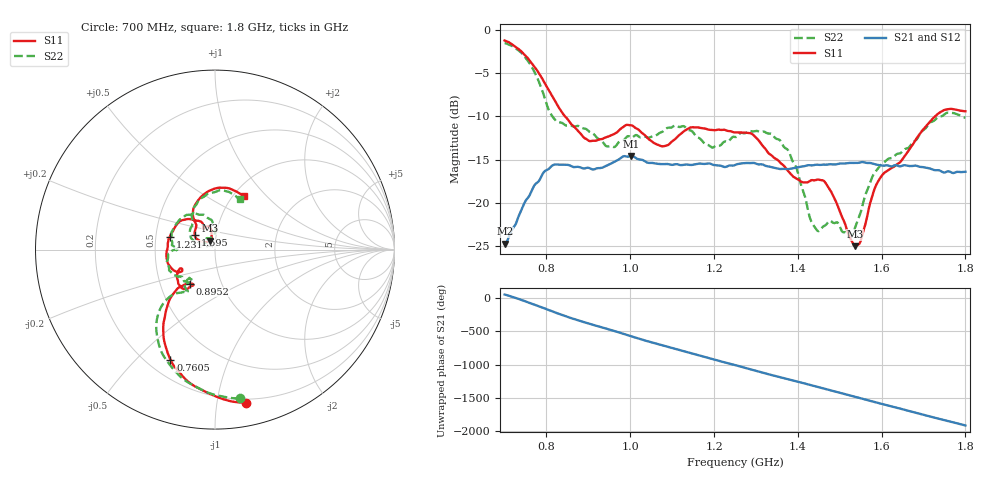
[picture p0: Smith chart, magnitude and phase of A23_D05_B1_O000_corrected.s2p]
! Created with skrf 1.9.0 (http://scikit-rf.org).
# Hz S RI R 50.0
!freq ReS11 ImS11 ReS21 ImS21 ReS12 ImS12 ReS22 ImS22
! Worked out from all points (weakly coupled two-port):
!   1601 points, 700 MHz to 1.8 GHz, reference 50 ohm
!   highest |S21| = -14.56 dB at 1.002 GHz (marker M1); lowest = -24.7 dB at 700.7 MHz (marker M2)
!   lowest |S11| = -25.0 dB at 1.537 GHz (marker M3), VSWR 1.12, Z = 47.2 + j4.72 ohm
!   |S11| at or under -10 dB: 844.6 MHz to 1.727 GHz (882.7 MHz wide, 68.6 % of centre)
!   |S22| runs from -24.0 to -1.5 dB; largest |S21 - S12| = 0.0035
!   S11 on the Smith chart (normalised r, x): 700 MHz: 0.17, -1.20; 760.5 MHz: 0.29, -0.63; 895.2 MHz: 0.71, -0.28; 1.231 GHz: 0.59, +0.09; 1.595 GHz: 0.79, +0.13; 1.8 GHz: 1.12, +0.75
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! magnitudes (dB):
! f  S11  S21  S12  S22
! 700 MHz  -1.2  -24.7  -24.5  -1.5
! 700.7 MHz  -1.2  -24.7  -24.4  -1.5
! 760.5 MHz  -3.6  -19.0  -18.9  -3.9
! 818.2 MHz  -8.0  -15.6  -15.7  -10.3
! 883.6 MHz  -12.1  -15.9  -15.8  -11.3
! 895.2 MHz  -12.6  -15.9  -16.0  -11.5
! 946.1 MHz  -12.3  -15.6  -15.7  -13.5
! 1.002 GHz  -11.0  -14.6  -14.7  -12.4
! 1.067 GHz  -13.3  -15.5  -15.4  -12.0
! 1.145 GHz  -11.3  -15.6  -15.6  -11.6
! 1.194 GHz  -11.5  -15.5  -15.5  -13.6
! 1.231 GHz  -11.7  -15.8  -15.7  -12.9
! 1.25 GHz  -11.8  -15.6  -15.5  -12.4
! 1.357 GHz  -15.3  -16.1  -16.0  -12.8
! 1.396 GHz  -17.2  -15.9  -15.9  -15.9
! 1.434 GHz  -17.4  -15.6  -15.6  -22.3
! 1.471 GHz  -18.0  -15.6  -15.5  -22.3
! 1.537 GHz  -25.0  -15.4  -15.4  -22.8
! 1.595 GHz  -17.2  -15.6  -15.6  -15.8
! 1.617 GHz  -16.2  -15.7  -15.7  -14.9
! 1.735 GHz  -9.7  -16.2  -16.3  -10.1
! 1.8 GHz  -9.4  -16.4  -16.4  -10.1
